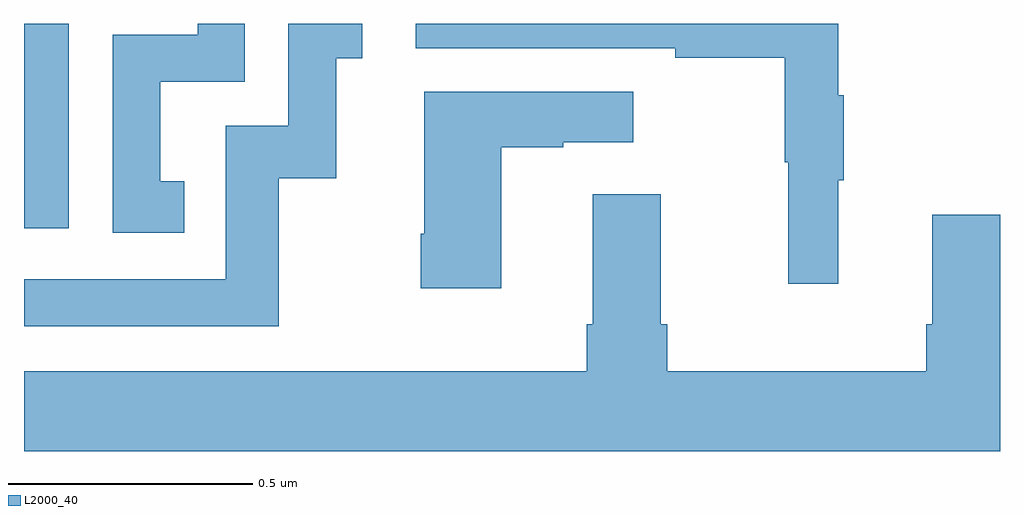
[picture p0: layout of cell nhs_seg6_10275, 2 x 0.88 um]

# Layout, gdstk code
import gdstk
lib = gdstk.Library(unit=1e-6, precision=1e-09)
def R(c, l, rs):  # rectangles x0, y0, x1, y1
    for r in rs: c.add(gdstk.rectangle(r[:2], r[2:], *l))
def P(c, l, *ps):  # polygons
    for p in ps: c.add(gdstk.Polygon(p, *l))
L2000_40 = (2000, 40)

nhs_seg6_10275 = lib.new_cell('nhs_seg6_10275')
R(nhs_seg6_10275, L2000_40, [(244,993.081,244.092,993.5)])
P(nhs_seg6_10275, L2000_40, [(244.522,993.183),(244.64,993.183),(244.64,993.429),(244.693,993.429),(244.693,993.5),(244.542,993.5),(244.542,993.291),(244.413,993.291),(244.413,992.976),(244,992.976),(244,992.88),(244.522,992.88)],
  [(244.328,993.177),(244.279,993.177),(244.279,993.381),(244.452,993.381),(244.452,993.5),(244.356,993.5),(244.356,993.477),(244.182,993.477),(244.182,993.072),(244.328,993.072)],
  [(245.669,993.179),(245.68,993.179),(245.68,993.353),(245.669,993.353),(245.669,993.5),(244.803,993.5),(244.803,993.45),(245.335,993.45),(245.335,993.43),(245.559,993.43),(245.559,993.216),(245.566,993.216),(245.566,992.967),(245.669,992.967)],
  [(244.978,993.247),(245.105,993.247),(245.105,993.257),(245.248,993.257),(245.248,993.361),(244.82,993.361),(244.82,993.07),(244.813,993.07),(244.813,992.958),(244.978,992.958)],
  [(246,993.109),(245.861,993.109),(245.861,992.884),(245.849,992.884),(245.849,992.788),(245.318,992.788),(245.318,992.884),(245.305,992.884),(245.305,993.151),(245.165,993.151),(245.165,992.884),(245.153,992.884),(245.153,992.788),(244,992.788),(244,992.624),(246,992.624)])

lib.write_gds('nhs_seg6_10275.gds')
